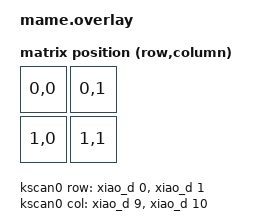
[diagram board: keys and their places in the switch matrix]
#include <dt-bindings/zmk/matrix_transform.h>
#include <physical_layouts.dtsi>

/ {
    chosen {
        zmk,physical-layout = &physical_layout0;
    };

    kscan0: kscan0 {
        compatible = "zmk,kscan-gpio-matrix";
        diode-direction = "col2row";
        wakeup-source;

        col-gpios
            = <&xiao_d  9 GPIO_ACTIVE_HIGH>
            , <&xiao_d 10 GPIO_ACTIVE_HIGH>
            ;

        row-gpios
            = <&xiao_d 0 (GPIO_ACTIVE_HIGH | GPIO_PULL_DOWN)>
            , <&xiao_d 1 (GPIO_ACTIVE_HIGH | GPIO_PULL_DOWN)>
            ;
    };
    
    default_transform: keymap_transform0 {
        compatible = "zmk,matrix-transform";
        columns = <2>;
        rows = <2>;
        map = <
            RC(0,0) RC(0,1)
            RC(1,0) RC(1,1)
        >;
    };

    physical_layout0: physical_layout_0 {
        compatible = "zmk,physical-layout";
        display-name = "Default Layout";
        kscan = <&kscan0>;
        transform = <&default_transform>;
        keys  //                     w   h    x    y     rot    rx    ry
            = <&key_physical_attrs 100 100    0    0       0     0     0>
            , <&key_physical_attrs 100 100  100    0       0     0     0>
            , <&key_physical_attrs 100 100    0  100       0     0     0>
            , <&key_physical_attrs 100 100  100  100       0     0     0>
            ;
    };
};
